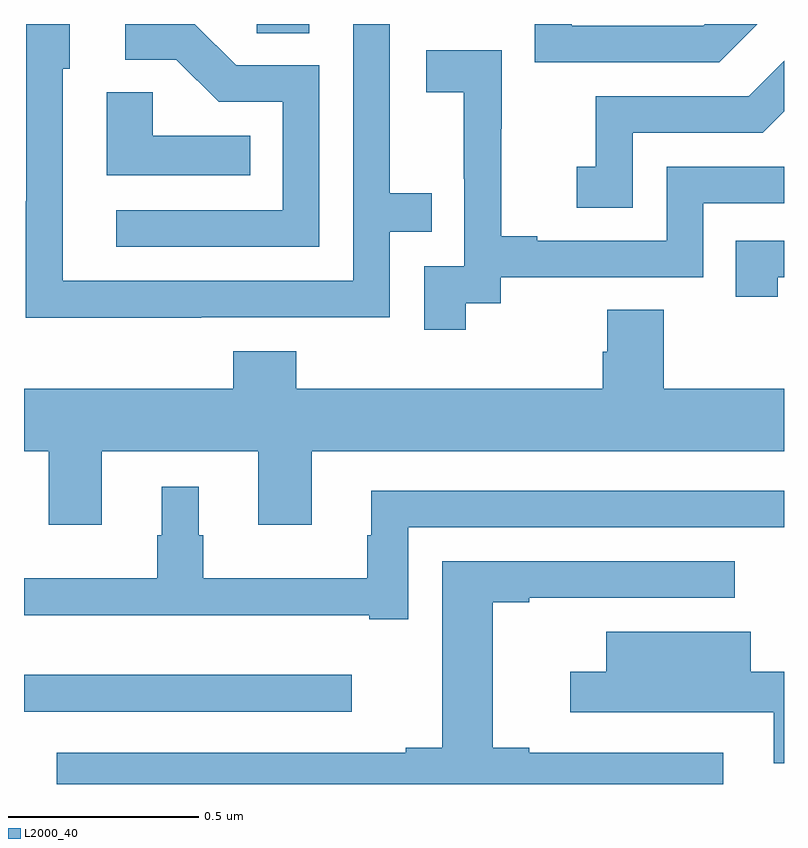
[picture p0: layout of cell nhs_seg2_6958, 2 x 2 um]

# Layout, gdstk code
import gdstk
lib = gdstk.Library(unit=1e-6, precision=1e-09)
def R(c, l, rs):  # rectangles x0, y0, x1, y1
    for r in rs: c.add(gdstk.rectangle(r[:2], r[2:], *l))
def P(c, l, *ps):  # polygons
    for p in ps: c.add(gdstk.Polygon(p, *l))
L2000_40 = (2000, 40)

nhs_seg2_6958 = lib.new_cell('nhs_seg2_6958')
R(nhs_seg2_6958, L2000_40, [(198,606.99,198.862,607.087), (198.612,608.776,198.751,608.8)])
P(nhs_seg2_6958, L2000_40, [(198.777,608.691),(198.558,608.691),(198.449,608.8),(198.267,608.8),(198.267,608.706),(198.401,608.706),(198.512,608.595),(198.681,608.595),(198.681,608.31),(198.243,608.31),(198.243,608.214),(198.777,608.214)],
  [(199.93,608.8),(199.792,608.8),(199.788,608.796),(199.441,608.796),(199.441,608.8),(199.344,608.8),(199.344,608.7),(199.83,608.7)],
  [(198.467,608.028),(198.963,608.028),(198.963,608.253),(199.073,608.253),(199.073,608.354),(198.963,608.354),(198.963,608.8),(198.867,608.8),(198.867,608.124),(198.102,608.124),(198.102,608.682),(198.121,608.682),(198.121,608.8),(198.006,608.8),(198.006,608.333),(198.004,608.333),(198.004,608.027),(198.467,608.027)],
  [(199.162,608.065),(199.254,608.065),(199.254,608.133),(199.788,608.133),(199.788,608.328),(200,608.328),(200,608.424),(199.692,608.424),(199.692,608.229),(199.351,608.229),(199.351,608.242),(199.256,608.242),(199.256,608.525),(199.257,608.525),(199.257,608.731),(199.059,608.731),(199.059,608.621),(199.157,608.621),(199.157,608.393),(199.158,608.393),(199.158,608.163),(199.053,608.163),(199.053,607.995),(199.162,607.995)],
  [(199.602,608.514),(199.944,608.514),(200,608.57),(200,608.703),(199.907,608.61),(199.504,608.61),(199.504,608.425),(199.455,608.425),(199.455,608.316),(199.602,608.316)],
  [(198.596,608.506),(198.339,608.506),(198.339,608.621),(198.218,608.621),(198.218,608.402),(198.596,608.402)],
  [(199.984,608.133),(200,608.133),(200,608.229),(199.873,608.229),(199.873,608.082),(199.984,608.082)],
  [(198.205,607.676),(198.617,607.676),(198.617,607.482),(198.757,607.482),(198.757,607.676),(200,607.676),(200,607.84),(199.683,607.84),(199.683,608.048),(199.535,608.048),(199.535,607.938),(199.523,607.938),(199.523,607.84),(198.716,607.84),(198.716,607.939),(198.551,607.939),(198.551,607.84),(198,607.84),(198,607.676),(198.065,607.676),(198.065,607.482),(198.205,607.482)],
  [(199.011,607.476),(200,607.476),(200,607.572),(198.914,607.572),(198.914,607.454),(198.903,607.454),(198.903,607.342),(198.472,607.342),(198.472,607.454),(198.46,607.454),(198.46,607.582),(198.362,607.582),(198.362,607.454),(198.351,607.454),(198.351,607.342),(198,607.342),(198,607.244),(198.908,607.244),(198.908,607.233),(199.011,607.233)],
  [(199.84,606.882),(199.33,606.882),(199.33,606.895),(199.234,606.895),(199.234,607.278),(199.33,607.278),(199.33,607.29),(199.87,607.29),(199.87,607.386),(199.1,607.386),(199.1,606.895),(199.004,606.895),(199.004,606.882),(198.086,606.882),(198.086,606.8),(199.84,606.8)],
  [(200,607.096),(199.912,607.096),(199.912,607.201),(199.532,607.201),(199.532,607.096),(199.437,607.096),(199.437,606.989),(199.973,606.989),(199.973,606.855),(200,606.855)])

lib.write_gds('nhs_seg2_6958.gds')
